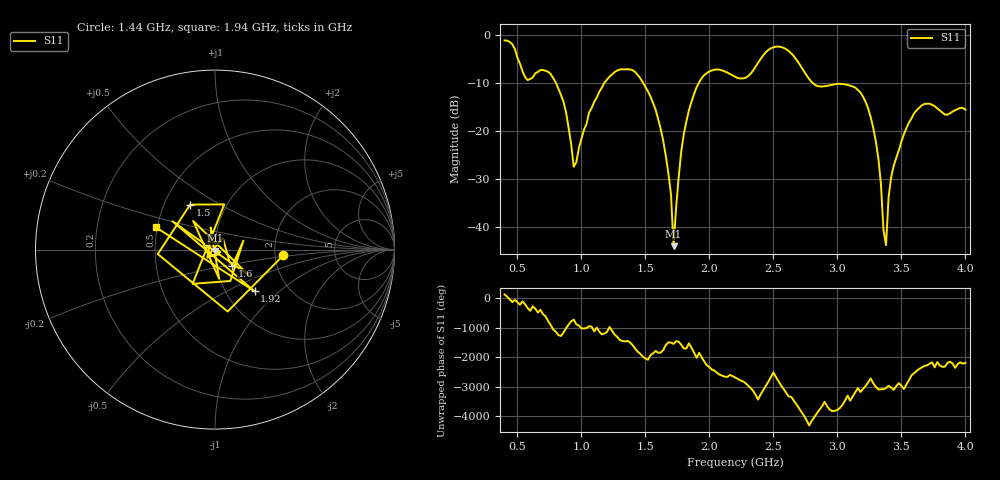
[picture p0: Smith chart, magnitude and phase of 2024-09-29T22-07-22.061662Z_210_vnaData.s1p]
!Created with skrf (http://scikit-rf.org).
# Hz S RI R 50.0
!freq ReS11 ImS11
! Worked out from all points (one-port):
!   181 points, 400 MHz to 4 GHz, reference 50 ohm
!   lowest |S11| = -43.9 dB at 1.72 GHz (marker M1), VSWR 1.01, Z = 49.9 - j0.62 ohm
!   |S11| at or under -10 dB: 801.1 MHz to 1.179 GHz (378.1 MHz wide, 38.2 % of centre); 1.482 GHz to 1.918 GHz (436 MHz wide, 25.6 % of centre); 2.806 GHz to end of sweep
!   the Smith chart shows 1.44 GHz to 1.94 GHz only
!   S11 on the Smith chart (normalised r, x): 1.44 GHz: 2.22, -0.16; 1.5 GHz: 0.68, +0.37; 1.6 GHz: 1.19, -0.22; 1.92 GHz: 1.36, -0.70; 1.94 GHz: 0.49, +0.14
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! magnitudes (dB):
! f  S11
! 400 MHz  -1.2
! 580 MHz  -9.4
! 740 MHz  -7.7
! 860 MHz  -13.9
! 940 MHz  -27.4
! 1.06 GHz  -16.2
! 1.3 GHz  -7.2
! 1.44 GHz  -8.4
! 1.5 GHz  -10.9
! 1.6 GHz  -17.6
! 1.7 GHz  -33.2
! 1.72 GHz  -43.9
! 1.76 GHz  -29.6
! 1.82 GHz  -18.0
! 1.92 GHz  -9.9
! 1.94 GHz  -9.0
! 2.2 GHz  -8.7
! 2.5 GHz  -2.6
! 2.66 GHz  -4.5
! 2.84 GHz  -10.7
! 3.1 GHz  -10.6
! 3.28 GHz  -19.3
! 3.32 GHz  -25.7
! 3.38 GHz  -43.7
! 3.42 GHz  -29.6
! 3.56 GHz  -18.2
! 3.68 GHz  -14.4
! 4 GHz  -15.6
